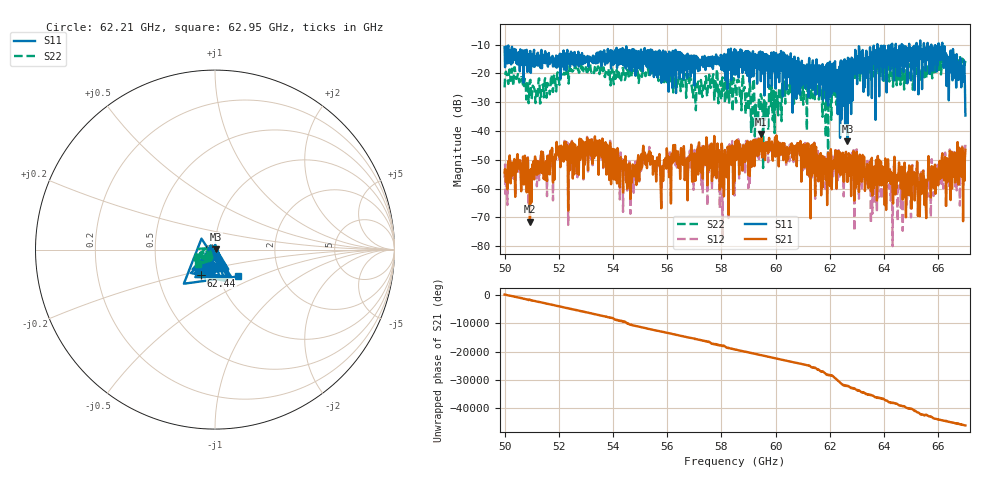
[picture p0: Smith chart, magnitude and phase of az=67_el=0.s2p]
!Created with skrf (http://scikit-rf.org).
# GHz S RI R 50.0
!freq ReS11 ImS11 ReS21 ImS21 ReS12 ImS12 ReS22 ImS22
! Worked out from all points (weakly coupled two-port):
!   1001 points, 50 GHz to 67 GHz, reference 50 ohm
!   highest |S21| = -41.07 dB at 59.47 GHz (marker M1); lowest = -71.5 dB at 50.94 GHz (marker M2)
!   lowest |S11| = -43.6 dB at 62.65 GHz (marker M3), VSWR 1.01, Z = 50.7 + j0.14 ohm
!   |S11| at or under -10 dB: start of sweep to 63.75 GHz; 63.75 GHz to 64.3 GHz (541.4 MHz wide, 0.846 % of centre); 66.15 GHz to end of sweep (the widest 3 of 13)
!   |S22| runs from -53.3 to -13.9 dB; largest |S21 - S12| = 0.0021
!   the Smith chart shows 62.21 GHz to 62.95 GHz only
!   S11 on the Smith chart (normalised r, x): 62.21 GHz: 1.06, -0.20; 62.44 GHz: 0.83, -0.24; 62.95 GHz: 1.22, -0.38
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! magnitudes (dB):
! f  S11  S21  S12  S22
! 50 GHz  -10.9  -54.4  -56.3  -24.8
! 50.94 GHz  -12.2  -71.5  -68.3  -22.4
! 52.84 GHz  -14.9  -47.9  -48.3  -19.4
! 53.59 GHz  -12.5  -49.2  -49.9  -18.8
! 54.61 GHz  -18.6  -51.2  -50.6  -18.9
! 55.13 GHz  -14.9  -50.0  -52.1  -19.9
! 55.68 GHz  -14.3  -51.9  -51.1  -22.6
! 57.65 GHz  -14.4  -57.4  -59.8  -23.8
! 58.13 GHz  -13.5  -46.6  -47.3  -30.1
! 58.5 GHz  -20.4  -46.3  -46.3  -23.9
! 59.47 GHz  -13.6  -41.1  -41.3  -27.8
! 61.34 GHz  -23.2  -55.5  -56.2  -25.6
! 62.21 GHz  -19.8  -46.7  -46.6  -24.5
! 62.44 GHz  -15.8  -49.8  -49.4  -24.2
! 62.65 GHz  -43.6  -49.4  -52.5  -23.6
! 62.95 GHz  -14.2  -59.7  -60.8  -18.2
! 64.18 GHz  -17.1  -55.0  -60.0  -18.7
! 64.26 GHz  -13.7  -54.3  -56.9  -20.8
! 65.33 GHz  -8.5  -59.1  -59.3  -19.0
! 66.08 GHz  -15.4  -53.5  -52.0  -15.5
! 66.88 GHz  -23.1  -45.7  -44.6  -14.8
! 67 GHz  -34.6  -46.5  -44.8  -15.6
